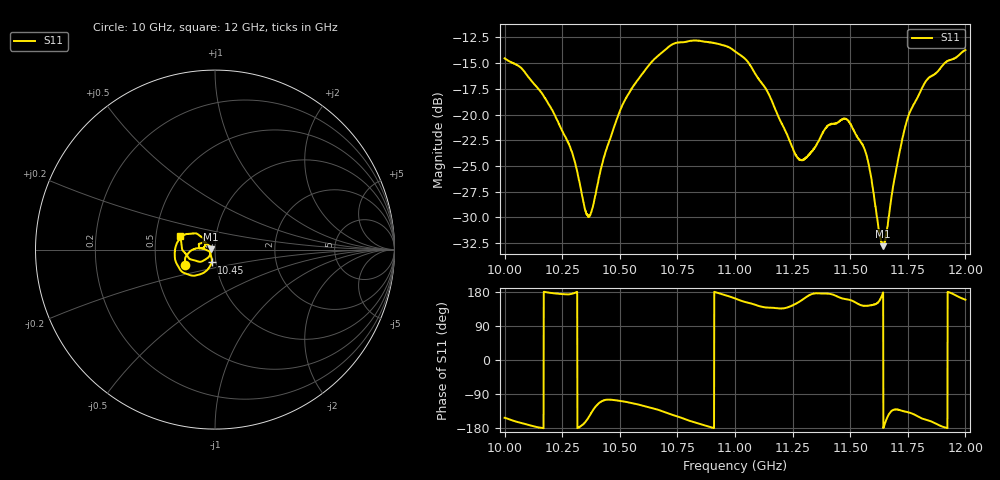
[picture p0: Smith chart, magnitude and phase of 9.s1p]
[Version] 2.0
! Rohde & Schwarz Vector Network Analyzer
! Rohde-Schwarz,ZNL20-2Port,1323001220200009,1.71.1.10-23.02.1.238
! Port Assignments:
! Nominal Port -> Actual Test Port
!  1 -> 1
! Created: GMT 2024-08-27 12:51:02
# Hz S DB R 50
[Number of Ports] 1
! freq[Hz]  S11[mag dB]  S11[ang]
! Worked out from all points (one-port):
!   2001 points, 10 GHz to 12 GHz, reference 50 ohm
!   lowest |S11| = -32.8 dB at 11.64 GHz (marker M1), VSWR 1.05, Z = 47.8 + j0.0612 ohm
!   |S11| at or under -10 dB: start of sweep to end of sweep
!   S11 on the Smith chart (normalised r, x): 10 GHz: 0.71, -0.13; 10.45 GHz: 0.95, -0.14; 12 GHz: 0.67, +0.10
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[Number of Frequencies] 28
[Network Data]
1e10  -14.53 -152.5
1.0069e10  -15.41 -165.7
1.0153e10  -17.65 -178.4
1.025e10  -21.58 173.9
1.0297e10  -23.98 175.4
1.0347e10  -29.02 -165.8
1.0364e10  -29.83 -151.9
1.0381e10  -29.13 -135.0
1.0454e10  -22.59 -104.7
1.05e10  -19.66 -107.9
1.0632e10  -15.06 -125.8
1.075e10  -13.00 -149.0
1.0881e10  -12.95 -174.8
1.1e10  -13.86 162.4
1.1136e10  -17.59 138.5
1.125e10  -23.21 144.1
1.1297e10  -24.38 161.0
1.1404e10  -21.05 175.0
1.1474e10  -20.42 161.4
1.15e10  -20.87 158.3
1.157e10  -23.87 143.2
1.1628e10  -31.64 157.0
1.1643e10  -32.79 178.4
1.1656e10  -31.68 -158.2
1.171e10  -24.14 -131.1
1.175e10  -20.33 -137.6
1.1836e10  -16.55 -159.1
1.2e10  -13.72 159.1
[End]
